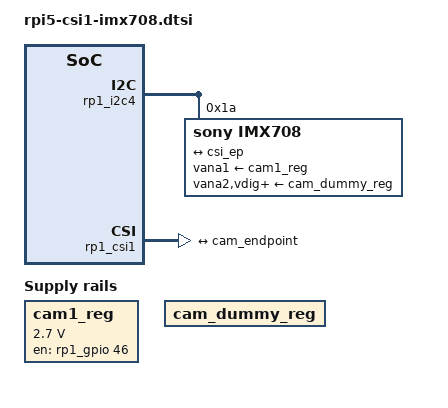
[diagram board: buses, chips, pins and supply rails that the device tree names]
/* IMX708 Camera on CSI1 */

/ {
    cam1_clk: cam1_clk {
	    compatible = "fixed-clock";
	    #clock-cells = <0>;
		status = "okay";
		clock-frequency = <24000000>;
    };

    cam1_reg: cam1_reg {
	compatible = "regulator-fixed";
	regulator-name = "cam1_reg";
	enable-active-high;
	status = "okay";
	startup-delay-us = <70000>;
	off-on-delay-us = <30000>;
	regulator-min-microvolt = <2700000>;
	regulator-max-microvolt = <2700000>;
	gpio = <&rp1_gpio 46 0>;  // CD1_IO0_MICCLK, to MIPI 1 connector
    };

    cam_dummy_reg: cam_dummy_reg {
	    compatible = "regulator-fixed";
	    regulator-name = "cam-dummy-reg";
	    status = "okay";
    };
};

&rp1_i2c4 {
	#address-cells = <1>;
	#size-cells = <0>;
	status = "okay";

	imx708@1a {
		compatible = "sony,imx708";
		reg = <0x1a>;
	    	status = "okay";

		clocks = <&cam1_clk>;
		clock-names = "inclk";

		vana1-supply = <&cam1_reg>;	/* 2.8v */
		vana2-supply = <&cam_dummy_reg>;/* 1.8v */
		vdig-supply = <&cam_dummy_reg>;	/* 1.1v */
		vddl-supply = <&cam_dummy_reg>;	/* 1.8v */

		rotation = <180>;
		orientation = <2>;

		port {
			cam_endpoint: endpoint {
				remote-endpoint = <&csi_ep>;
				clock-lanes = <0>;
				data-lanes = <1 2>;
				clock-noncontinuous;
				link-frequencies = /bits/ 64 <450000000>;
			};
		};
	};

	vcm: ad5398@c {
		compatible = "adi,ad5398";
		reg = <0x0c>;
		status = "disabled";
		VANA-supply = <&cam1_reg>;
	};
};

&rp1_csi1 {
	status = "okay";

	port {
		csi_ep: endpoint {
			remote-endpoint = <&cam_endpoint>;
			clock-lanes = <0>;
			data-lanes = <1 2>;
			clock-noncontinuous;
		};
	};
};
